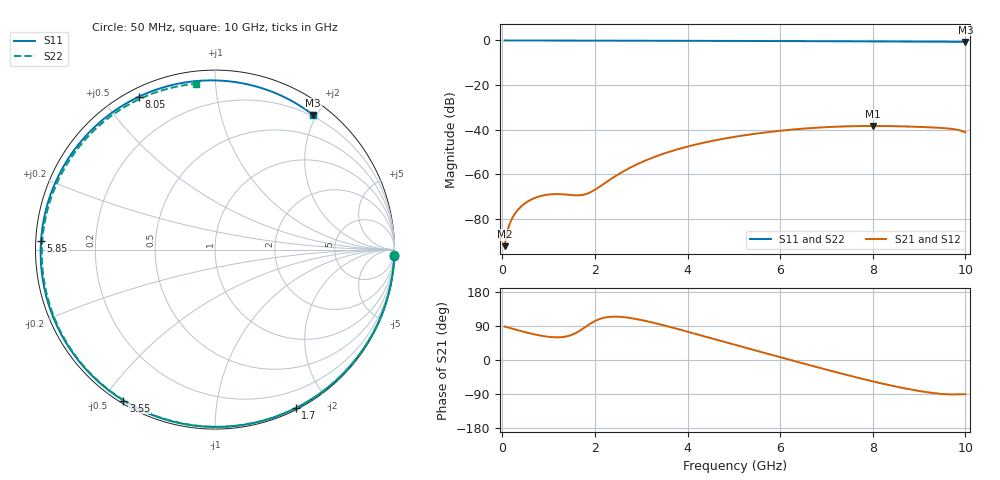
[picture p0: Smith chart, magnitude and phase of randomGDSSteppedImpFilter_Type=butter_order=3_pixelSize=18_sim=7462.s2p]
! freq	dB(S11)	phase(S11)	dB(S12)	phase(S12)
!  dB(S21)	phase(S21)	dB(S22)	phase(S22)
!S-par simulation data
#  GHz  S  DB  R 50
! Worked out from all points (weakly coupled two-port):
!   200 points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, 50 MHz to 10 GHz, reference 50 ohm
!   highest |S21| = -38.28 dB at 8 GHz (marker M1); lowest = -92.1 dB at 50 MHz (marker M2)
!   lowest |S11| = -0.6 dB at 10 GHz (marker M3), VSWR 26.79, Z = 9.05 + j97.8 ohm
!   |S11| at or under -10 dB: nowhere
!   |S22| runs from -0.6 to 0.0 dB; largest |S21 - S12| = 0
!   S11 on the Smith chart (normalised r, x): 50 MHz: 0, -59; 1.7 GHz: 0.02, -1.63; 3.55 GHz: 0.01, -0.56; 5.85 GHz: 0.01, +0.03; 8.05 GHz: 0.03, +0.62; 10 GHz: 0.18, +1.96
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0.05  -0.00 -2.0  -92.09 88.3  -92.09 88.3  -0.00 -1.6
0.2  -0.01 -7.7  -80.15 83.2  -80.15 83.2  -0.01 -6.3
0.45  -0.02 -17.3  -73.55 74.9  -73.55 74.9  -0.02 -14.2
0.8  -0.04 -30.5  -69.82 65.0  -69.82 65.0  -0.03 -25.1
1.1  -0.05 -41.6  -68.80 60.1  -68.80 60.1  -0.04 -34.3
1.7  -0.08 -63.1  -69.24 79.3  -69.24 79.3  -0.06 -52.3
1.75  -0.08 -64.8  -69.07 83.4  -69.07 83.4  -0.07 -53.8
2  -0.09 -73.3  -66.84 102.8  -66.84 102.8  -0.08 -61.0
2.55  -0.11 -91.2  -59.38 113.9  -59.38 113.9  -0.09 -76.5
3.4  -0.14 -116.9  -51.28 94.2  -51.28 94.2  -0.12 -99.2
3.55  -0.14 -121.3  -50.22 89.5  -50.22 89.5  -0.13 -103.1
4.3  -0.17 -142.1  -46.00 64.6  -46.00 64.6  -0.16 -121.7
5.05  -0.21 -162.0  -43.03 39.2  -43.03 39.2  -0.20 -139.7
5.85  -0.26 177.1  -40.77 12.4  -40.77 12.4  -0.25 -158.3
6.7  -0.32 154.6  -39.18 -15.7  -39.18 -15.7  -0.31 -178.1
7.35  -0.37 136.8  -38.50 -36.7  -38.50 -36.7  -0.36 166.5
8  -0.43 118.1  -38.28 -56.4  -38.28 -56.4  -0.42 150.6
8.05  -0.43 116.6  -38.29 -57.8  -38.29 -57.8  -0.43 149.4
8.35  -0.46 107.6  -38.34 -66.2  -38.34 -66.2  -0.45 141.7
9.2  -0.55 80.7  -38.85 -85.5  -38.85 -85.5  -0.54 119.1
9.75  -0.61 62.4  -39.71 -90.9  -39.71 -90.9  -0.60 103.6
10  -0.65 53.9  -41.17 -90.3  -41.17 -90.3  -0.63 96.4
